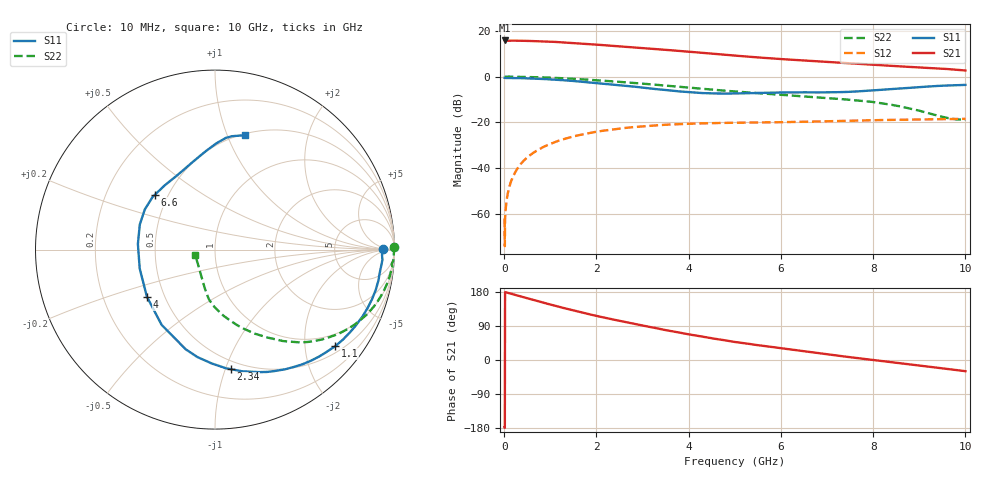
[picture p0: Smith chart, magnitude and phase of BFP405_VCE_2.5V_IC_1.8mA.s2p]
! Infineon Technologies  Discrete & RF Semiconductors
! BFP405
! VCE =  2.5 V,  IC =  1.8 mA
! Common Emitter S-Parameters:  Jan 2016
# GHz  S  MA  R  50
!  f  S11  S21  S12  S22
! GHz  MAG  ANG  MAG  ANG  MAG  ANG  MAG  ANG
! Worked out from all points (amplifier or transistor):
!   233 points, 10 MHz to 10 GHz, reference 50 ohm
!   highest |S21| = 15.8 dB at 10 MHz (marker M1)
!   |S21| within 3 dB of that: start of sweep to 2.801 GHz
!   unconditionally stable (mu >= 1): 14.5 MHz to 15.24 MHz; 4.545 GHz to end of sweep
!   at 200 MHz: K = 0.03, MSG = 29.5 dB, |S12| = -43.3 dB
!   at 1.74 GHz: K = 0.29, MSG = 19.7 dB, |S12| = -25.0 dB
!   at 10 GHz: K = 1.74, MAG = 5.5 dB, |S12| = -18.4 dB
!   S11 on the Smith chart (normalised r, x): 10 MHz: 32, +2; 1.1 GHz: 0.66, -2.71; 2.34 GHz: 0.43, -1.04; 4 GHz: 0.40, -0.27; 6.6 GHz: 0.42, +0.33; 10 GHz: 0.52, +1.16
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0.01  0.9387 0.2  6.145 -177.4  0.0008 -50.0  1 0.8
0.015  0.9367 -0.0  6.102 -179.2  0.0002 22.3  0.9969 0.5
0.02  0.9347 -0.3  6.066 178.9  0.0008 94.7  0.9939 0.1
0.055  0.9312 -2.0  6.049 178.3  0.0021 86.5  0.9969 -0.7
0.14  0.9317 -4.8  6.074 175.3  0.0049 87.3  0.9958 -2.5
0.28  0.9265 -9.8  6.076 170.5  0.0096 85.0  0.9908 -5.2
0.5  0.9176 -17.5  6.02 163.1  0.0172 81.2  0.9833 -9.1
0.7  0.902 -24.5  5.924 156.5  0.024 77.3  0.9716 -12.8
1.1  0.8595 -38.7  5.718 143.2  0.0373 69.5  0.9389 -20.0
1.4  0.8175 -49.3  5.488 133.8  0.0465 63.7  0.9068 -25.0
1.68  0.7752 -59.0  5.26 125.5  0.0545 58.5  0.8734 -29.4
2  0.7246 -70.4  4.985 116.4  0.0626 52.8  0.8337 -34.2
2.34  0.672 -82.5  4.702 107.5  0.0702 47.0  0.7896 -38.8
2.8  0.6071 -99.2  4.351 95.8  0.0791 39.9  0.7293 -44.9
3.4  0.5219 -121.3  3.905 81.4  0.0877 31.1  0.6485 -52.0
4  0.4614 -145.3  3.501 67.7  0.0937 23.6  0.5734 -58.9
4.5  0.4326 -165.9  3.178 57.2  0.0969 18.1  0.5196 -64.5
5.1  0.4307 172.9  2.821 46.0  0.0989 12.7  0.4659 -70.4
6.6  0.4532 137.5  2.215 21.6  0.104 3.7  0.365 -83.5
6.8  0.4524 132.8  2.147 18.4  0.105 2.7  0.3528 -85.2
8.4  0.5365 97.7  1.713 -5.8  0.1137 -6.3  0.2424 -101.8
10  0.6597 75.1  1.36 -29.5  0.1199 -14.3  0.1148 -166.2
